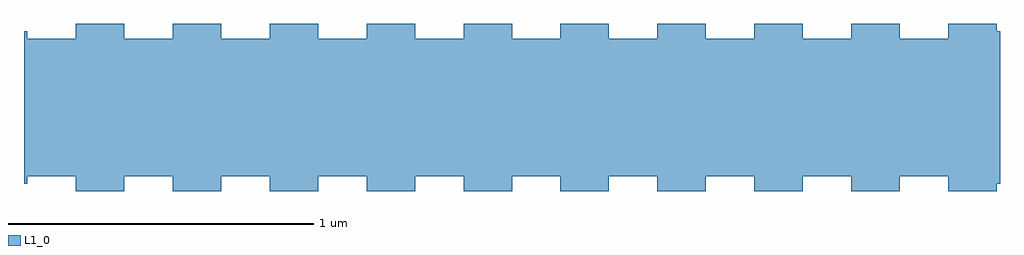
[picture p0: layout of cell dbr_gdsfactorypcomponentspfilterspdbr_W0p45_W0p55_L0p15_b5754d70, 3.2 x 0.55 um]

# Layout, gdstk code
from math import pi, radians
import gdstk
lib = gdstk.Library(unit=1e-6, precision=1e-09)
def R(c, l, rs):  # rectangles x0, y0, x1, y1
    for r in rs: c.add(gdstk.rectangle(r[:2], r[2:], *l))
def P(c, l, *ps):  # polygons
    for p in ps: c.add(gdstk.Polygon(p, *l))
L1_0 = (1, 0)

straight_gdsfactorypcomp = lib.new_cell('straight_gdsfactorypcomponentspwaveguidespstraight_L0p0_05377f40')
R(straight_gdsfactorypcomp, L1_0, [(0,-0.25,0.01,0.25)])

dbr_cell_gdsfactorypcomp = lib.new_cell('dbr_cell_gdsfactorypcomponentspfilterspdbr_W0p45_W0p55__d3a2b7a1')
P(dbr_cell_gdsfactorypcomp, L1_0, [(0.159,-0.275),(0.159,-0.225),(0,-0.225),(0,0.225),(0.159,0.225),(0.159,0.275),(0.318,0.275),(0.318,-0.275)])

dbr_gdsfactorypcomponent = lib.new_cell('dbr_gdsfactorypcomponentspfilterspdbr_W0p45_W0p55_L0p15_b5754d70')
dbr_gdsfactorypcomponent.add(gdstk.Reference(straight_gdsfactorypcomp, (0,0), rotation=pi))
dbr_gdsfactorypcomponent.add(gdstk.Reference(straight_gdsfactorypcomp, (3.18,0)))
r = gdstk.Reference(dbr_cell_gdsfactorypcomp, (0,0)); r.repetition = gdstk.Repetition(10, 1, v1=(0.318,0), v2=(0,0)); dbr_gdsfactorypcomponent.add(r)

lib.write_gds('dbr_gdsfactorypcomponentspfilterspdbr_W0p45_W0p55_L0p15_b5754d70.gds')
